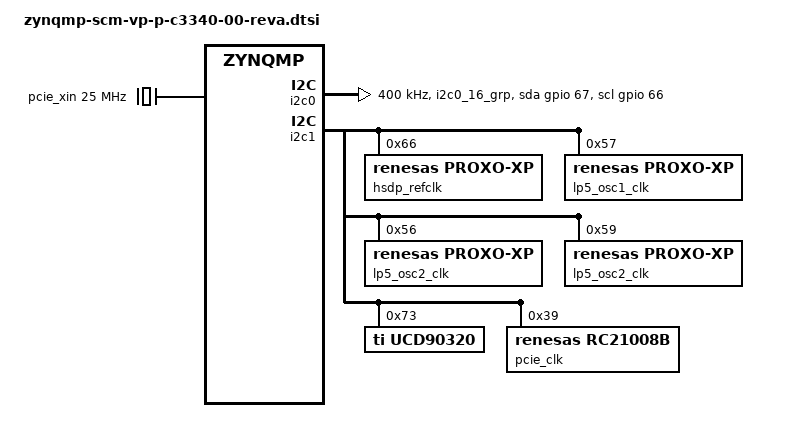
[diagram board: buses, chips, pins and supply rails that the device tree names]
// SPDX-License-Identifier: GPL-2.0
/*
 * dts file for Xilinx ZynqMP VP-P-C3340-00
 *
 * Copyright (C) 2026, Advanced Micro Devices, Inc.
 *
 * Michal Simek <michal.simek@amd.com>
 */

#include "include/dt-bindings/gpio/gpio.h"
#include "include/dt-bindings/pinctrl/pinctrl-zynqmp.h"

&{/} {
	compatible = "xlnx,zynqmp-scm-vp-p-c3340-revA",
		     "xlnx,zynqmp-scm-vp-p-c3340", "xlnx,zynqmp";
	model = "ZynqMP SCM VP-P-C3340-00 revA";

	sys_clk_0 {
		compatible = "xlnx,fclk";
		clocks = <&hsdp_refclk>;
	};

	sys_clk_1 {
		compatible = "xlnx,fclk";
		clocks = <&lp5_osc1_clk>;
	};

	sys_clk_2 {
		compatible = "xlnx,fclk";
		clocks = <&lp5_osc2_clk>;
	};

	pcie_xin: clock {
		compatible = "fixed-clock";
		#clock-cells = <0>;
		clock-frequency = <25000000>;
	};
};

&pinctrl0 {
	pinctrl_i2c0_default: i2c0-default {
		conf {
			groups = "i2c0_16_grp";
			bias-pull-up;
			slew-rate = <SLEW_RATE_SLOW>;
			power-source = <IO_STANDARD_LVCMOS18>;
		};

		mux {
			groups = "i2c0_16_grp";
			function = "i2c0";
		};
	};

	pinctrl_i2c0_gpio: i2c0-gpio-grp {
		conf {
			groups = "gpio0_66_grp", "gpio0_67_grp";
			slew-rate = <SLEW_RATE_SLOW>;
			power-source = <IO_STANDARD_LVCMOS18>;
		};

		mux {
			groups = "gpio0_66_grp", "gpio0_67_grp";
			function = "gpio0";
		};
	};
};

&i2c0 { /* MIO 66/67 - scm_i2c u61/j84 OE */
	#address-cells = <1>;
	#size-cells = <0>;
	clock-frequency = <400000>;
	pinctrl-names = "default", "gpio";
	pinctrl-0 = <&pinctrl_i2c0_default>;
	pinctrl-1 = <&pinctrl_i2c0_gpio>;
	scl-gpios = <&gpio 66 (GPIO_ACTIVE_HIGH | GPIO_OPEN_DRAIN)>;
	sda-gpios = <&gpio 67 (GPIO_ACTIVE_HIGH | GPIO_OPEN_DRAIN)>;

	/*
	 * No need to describe them because all of them are driven from user space
	 * SCM_I2C (J84 enable bus)
	 * Bus via LTC4316 u62 ina226_pmbus_scl_trnsl
	 * ina226 0x59 u112 shunt-resistor = <1000>; R781, 0.92V
	 * ina226 0x5B u116 shunt-resistor = <1000>; R821, 1.2V
	 * ina226 0x5A u114 shunt-resistor = <20000>; R801, 1.5V
	 * ina226 0x5C u118 shunt-resistor = <2000>; R841, 1.00V
	 * ina226 0x5D u121 shunt-resistor = <2000>; R876, 1.2V
	 * ina226 0x43 u124 shunt-resistor = <1000>; R903, 0.8V
	 * ina226 0x4D u128 shunt-resistor = <1000>; R945, 0.92V
	 *
	 * Bus via I2C_PMC - enabling via J81 ina226_pmbus_scl
	 * ina226 0x4a u84 shunt-resistor = <2000>; R435, 1.8V
	 * ina226 0x4b u86 shunt-resistor = <2000>; R455, 1.8V
	 * ina226 0x42 u88 shunt-resistor = <2000>; R475, 1.8V
	 * ina226 0x40 u90 shunt-resistor = <2000>; R495, 0.8V
	 * ina226 0x4c u106 shunt-resistor = <20000>; R721, 1.5V
	 * ina226 0x44 u102 shunt-resistor = <2000>; R681, 1.8V
	 * ina226 0x47 u104 shunt-resistor = <2000>; R701, 0.8V
	 * ina226 0x45 u108 shunt-resistor = <2000>; R741, 0.8V
	 * ina226 0x41 u110 shunt-resistor = <2000>; R761, 0.8V
	 * ina226 0x49 u122 shunt-resistor = <2000>; R883, 1.5V
	 * ina226 0x4e u126 shunt-resistor = <20000>; R925, 0.8V
	 * ina226 0x4f u130 shunt-resistor = <20000>; R965, 1.5V
	 *
	 * Bus via I2C_PMC - enabling via J82 ext_pmbus_scl
	 * tps546b24a 0x1a u85
	 * tps546b24b 0x1b u87
	 * tps546b24b 0x1c u89
	 * tps546b24b 0x16 u107
	 * tps546b24b 0x2a u103
	 * tps546b24b 0x20 u105
	 * tps546b24b 0x1e u109
	 * tps546b24b 0x1d u111
	 * tps546b24b 0x2b u113
	 * tps546b24b 0x11 u117
	 * tps546b24b 0x1f u115
	 * tps546b24b 0x2c u131
	 *
	 * Bus via I2C_PMC - enabling via J83 pmbus_scl
	 * tps546b24b 0x23 u91
	 * tps546b24b 0x13 u119
	 * tps546b24b 0x2d u120
	 * tps546b24b 0x29 u123
	 * tps546b24d 0x22 u125
	 * tps546b24b 0x19 u127
	 * tps546b24d 0x21 u129
	 * tps53681 0x60 u132
	 * tps546b24b 0x15 u642
	 * tps546b24b 0x27 u140
	 * tps546b24b 0x26 u141
	 * tps546b24b 0x14 u142
	 * tps546b24b 0x12 u143
	 */
};

&i2c1 { /* scm_eeprom_i2c */
	#address-cells = <1>;
	#size-cells = <0>;

	/* via j85 u63 i2c_main_scl */

	/* j88/u68 - OE i2c_main_1_scl */
	hsdp_refclk: clock-controller@66 { /* u45 */
		compatible = "renesas,proxo-xp";
		reg = <0x66>;
		#clock-cells = <0>;
		clock-output-names = "hsdp_refclk";
	};

	/* j90/u70 - OE i2c_main_2_scl */
	lp5_osc1_clk: clock-controller@57 { /* u2 */
		compatible = "renesas,proxo-xp";
		reg = <0x57>;
		#clock-cells = <0>;
		clock-output-names = "lp5_osc1_clk";
	};

	/* j92/u72 - OE i2c_main_3_scl */
	lp5_osc2_clk: clock-controller@56 { /* u48 */
		compatible = "renesas,proxo-xp";
		reg = <0x56>;
		#clock-cells = <0>;
		clock-output-names = "lp5_osc2_clk";
	};

	/* j91/u71 - OE i2c_main_5_scl */
	lp5_osc2_clk: clock-controller@59 { /* u43 */
		compatible = "renesas,proxo-xp";
		reg = <0x59>;
		#clock-cells = <0>;
		clock-output-names = "xpl7_ps_refclk";
	};

	/* m24c128 u67 0x54 board eeprom in SCM */

	/* j86 - OE ucd_pmbus_scl */
	ucd90320: power-sequencer@73 { /* u93 */
		compatible = "ti,ucd90320";
		reg = <0x73>;
	};

	pcie_clk: clock-generator@39 { /* u51 */
		compatible = "renesas,rc21008b";
		clock-output-names = "rc21008b-pcie";
		reg = <0x39>;
		#clock-cells = <1>;
		clocks = <&pcie_xin>; /* internal oscilator */
		clock-names = "xin";
	};
};
